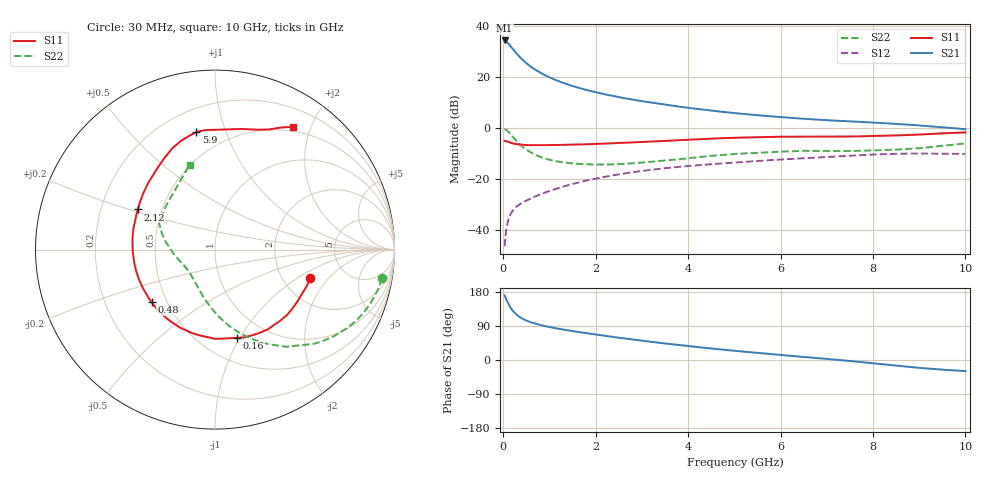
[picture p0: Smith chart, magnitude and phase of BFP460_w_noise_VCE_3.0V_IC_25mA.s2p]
! (c) 2016  Infineon Technologies AG, Munich
! Infineon Technologies  Discrete & RF Semiconductors
! BFP460
! VCE =  3.0 V,  IC =  25 mA
! Common Emitter S-Parameters:  Jan 2016
# GHz  S  MA  R  50
!  f  S11  S21  S12  S22
! GHz  MAG  ANG  MAG  ANG  MAG  ANG  MAG  ANG
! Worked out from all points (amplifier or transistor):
!   229 points, 30 MHz to 10 GHz, reference 50 ohm
!   highest |S21| = 34.1 dB at 30 MHz (marker M1)
!   |S21| within 3 dB of that: start of sweep to 192 MHz
!   unconditionally stable (mu >= 1): 1.637 GHz to 7.709 GHz
!   at 280 MHz: K = 0.47, MSG = 30.1 dB, |S12| = -31.0 dB
!   at 1.78 GHz: K = 1.01, MAG = 17.2 dB, |S12| = -20.8 dB
!   at 10 GHz: K = 0.97, MSG = 4.8 dB, |S12| = -10.3 dB
!   lowest NFmin = 1.36 dB at 450 MHz
!   S11 on the Smith chart (normalised r, x): 30 MHz: 2.85, -1.28; 160 MHz: 0.73, -0.97; 480 MHz: 0.41, -0.31; 2.12 GHz: 0.37, +0.21; 5.9 GHz: 0.34, +0.79; 10 GHz: 0.44, +1.73
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0.03  0.5541 -16.3  50.97 170.3  0.0048 85.2  0.9433 -9.8
0.05  0.5433 -27.1  49.52 164.0  0.0078 80.7  0.9269 -16.0
0.07  0.5418 -37.8  48.31 158.3  0.0107 75.4  0.9022 -22.4
0.09  0.5376 -47.6  46.43 153.2  0.0132 72.6  0.8704 -28.3
0.12  0.5276 -60.9  43.38 145.9  0.0168 67.8  0.8171 -36.4
0.16  0.5068 -76.0  39.18 137.9  0.0204 63.3  0.7416 -45.4
0.2  0.4977 -89.6  35.37 130.8  0.0235 59.8  0.6726 -53.6
0.24  0.4854 -100.5  31.91 125.3  0.026 57.6  0.6104 -59.9
0.3  0.4765 -114.1  27.52 118.3  0.0291 55.4  0.5321 -68.4
0.4  0.4646 -130.7  22.09 109.9  0.0335 54.2  0.4368 -79.0
0.48  0.4589 -140.4  18.98 105.2  0.0367 54.3  0.3834 -85.5
0.68  0.4547 -157.4  13.92 96.4  0.0446 55.6  0.2995 -98.1
0.9  0.4561 -169.8  10.69 89.5  0.0536 56.9  0.2502 -108.7
1.2  0.4597 178.0  8.116 82.3  0.0663 57.6  0.2163 -119.7
1.7  0.4708 163.0  5.793 72.5  0.088 56.7  0.194 -133.3
2.12  0.4848 152.5  4.677 65.2  0.1063 54.5  0.1898 -143.2
3.4  0.5461 128.0  2.909 45.3  0.1572 44.8  0.2233 -170.7
5.1  0.639 106.0  1.892 23.1  0.2109 32.0  0.3086 163.3
5.9  0.6621 99.1  1.639 14.3  0.2357 26.0  0.3362 156.5
6.8  0.667 91.5  1.438 5.0  0.2609 19.7  0.3512 152.0
8.4  0.7003 72.8  1.203 -13.6  0.3072 5.5  0.3693 136.2
10  0.8084 57.7  0.935 -29.3  0.3071 -7.1  0.4926 106.6
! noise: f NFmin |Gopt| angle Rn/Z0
0.45  1.36  0.13  -171  0.13
0.9  1.38  0.11  -170  0.13
1.9  1.49  0.23  -146  0.13
3.5  1.42  0.46  -122  0.16
